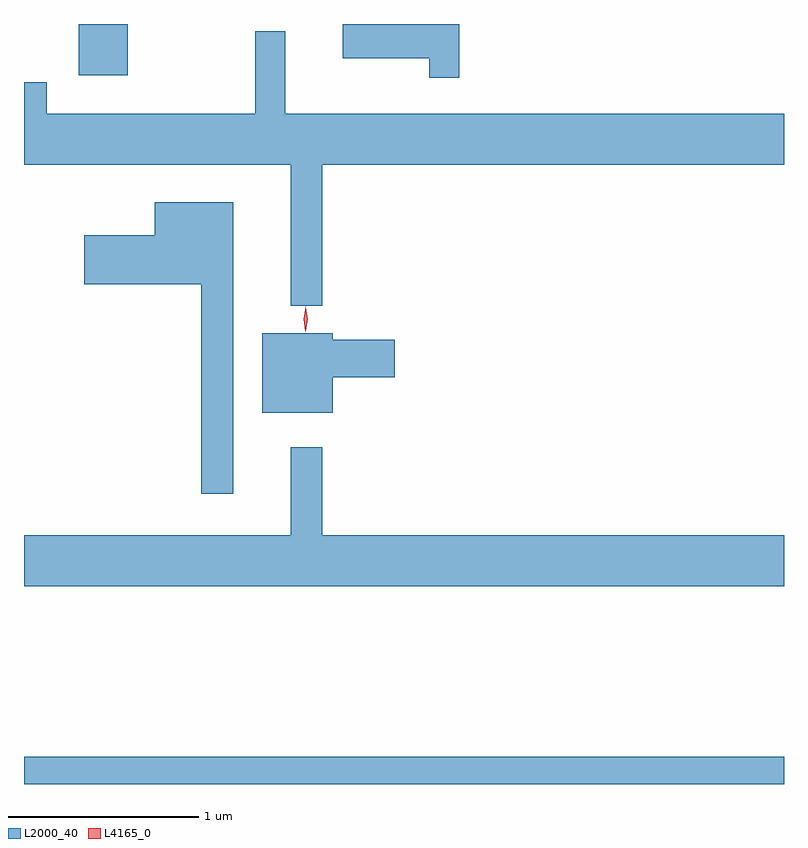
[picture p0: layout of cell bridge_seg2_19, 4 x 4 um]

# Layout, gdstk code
import gdstk
lib = gdstk.Library(unit=1e-6, precision=1e-09)
def R(c, l, rs):  # rectangles x0, y0, x1, y1
    for r in rs: c.add(gdstk.rectangle(r[:2], r[2:], *l))
def P(c, l, *ps):  # polygons
    for p in ps: c.add(gdstk.Polygon(p, *l))
L2000_40 = (2000, 40)
L4165_0 = (4165, 0)

bridge_seg2_19 = lib.new_cell('bridge_seg2_19')
R(bridge_seg2_19, L2000_40, [(1556.228,1107.216,1560.228,1107.359), (1556.516,1110.946,1556.774,1111.216)])
P(bridge_seg2_19, L2000_40, [(1558.519,1111.216),(1557.906,1111.216),(1557.906,1111.036),(1558.361,1111.036),(1558.361,1110.933),(1558.519,1110.933)],
  [(1557.799,1110.476),(1560.228,1110.476),(1560.228,1110.744),(1557.604,1110.744),(1557.604,1111.178),(1557.446,1111.178),(1557.446,1110.744),(1556.349,1110.744),(1556.349,1110.909),(1556.228,1110.909),(1556.228,1110.476),(1557.631,1110.476),(1557.631,1109.733),(1557.799,1109.733)],
  [(1557.329,1110.279),(1556.916,1110.279),(1556.916,1110.104),(1556.546,1110.104),(1556.546,1109.846),(1557.161,1109.846),(1557.161,1108.743),(1557.329,1108.743)],
  [(1557.854,1109.356),(1558.179,1109.356),(1558.179,1109.554),(1557.854,1109.554),(1557.854,1109.589),(1557.481,1109.589),(1557.481,1109.171),(1557.854,1109.171)],
  [(1560.228,1108.524),(1557.799,1108.524),(1557.799,1108.988),(1557.631,1108.988),(1557.631,1108.524),(1556.228,1108.524),(1556.228,1108.256),(1560.228,1108.256)])
P(bridge_seg2_19, L4165_0, [(1557.709,1109.6),(1557.701,1109.664),(1557.711,1109.726),(1557.712,1109.727),(1557.712,1109.726),(1557.721,1109.663),(1557.71,1109.6),(1557.71,1109.6)])

lib.write_gds('bridge_seg2_19.gds')
